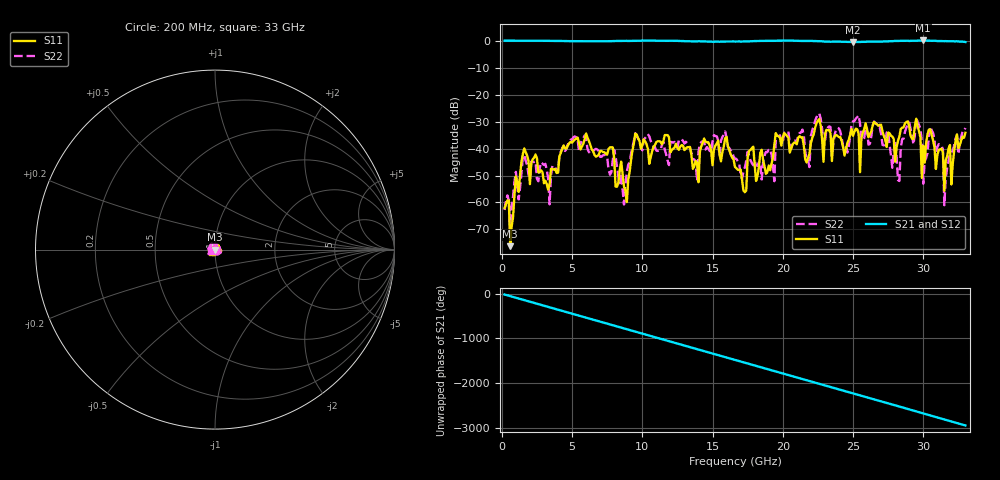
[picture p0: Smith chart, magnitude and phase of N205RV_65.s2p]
# GHZ S RI R 50
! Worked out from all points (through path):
!   329 points, 200 MHz to 33 GHz, reference 50 ohm
!   highest |S21| = 0.08 dB at 30 GHz (marker M1); lowest = -0.5 dB at 25 GHz (marker M2)
!   group delay of S21, straight-line fit = 248 ps
!   lowest |S11| = -76.2 dB at 600 MHz (marker M3), VSWR 1.00, Z = 50 + j0.0154 ohm
!   |S11| at or under -10 dB: start of sweep to end of sweep
!   |S22| runs from -71.3 to -27.0 dB; largest |S21 - S12| = 0.0019
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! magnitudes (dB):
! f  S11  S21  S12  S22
! 200 MHz  -62.1  0.0  0.0  -62.8
! 600 MHz  -76.2  0.0  0.0  -71.3
! 1.6 GHz  -40.0  0.0  0.0  -42.5
! 3.4 GHz  -53.3  -0.1  -0.1  -60.7
! 5.7 GHz  -39.3  -0.2  -0.2  -36.9
! 8 GHz  -43.6  -0.1  -0.1  -40.5
! 8.7 GHz  -54.2  -0.1  -0.1  -60.8
! 9.5 GHz  -34.5  -0.1  -0.1  -34.3
! 11.2 GHz  -37.3  0.0  0.0  -40.8
! 16.6 GHz  -46.8  -0.3  -0.3  -43.8
! 19.4 GHz  -38.7  -0.1  -0.1  -52.1
! 22.1 GHz  -36.1  -0.1  -0.1  -33.1
! 25 GHz  -35.3  -0.5  -0.5  -29.9
! 27.6 GHz  -34.3  -0.2  -0.2  -38.4
! 28.3 GHz  -35.5  -0.1  -0.1  -52.0
! 29.5 GHz  -28.9  0.0  0.0  -28.7
! 29.9 GHz  -50.9  0.0  0.0  -37.3
! 30 GHz  -38.9  0.1  0.1  -53.1
! 30.5 GHz  -32.8  0.0  0.0  -31.9
! 31.4 GHz  -41.4  -0.2  -0.2  -40.3
! 31.5 GHz  -55.7  -0.2  -0.2  -61.0
! 33 GHz  -34.1  -0.5  -0.5  -32.4
